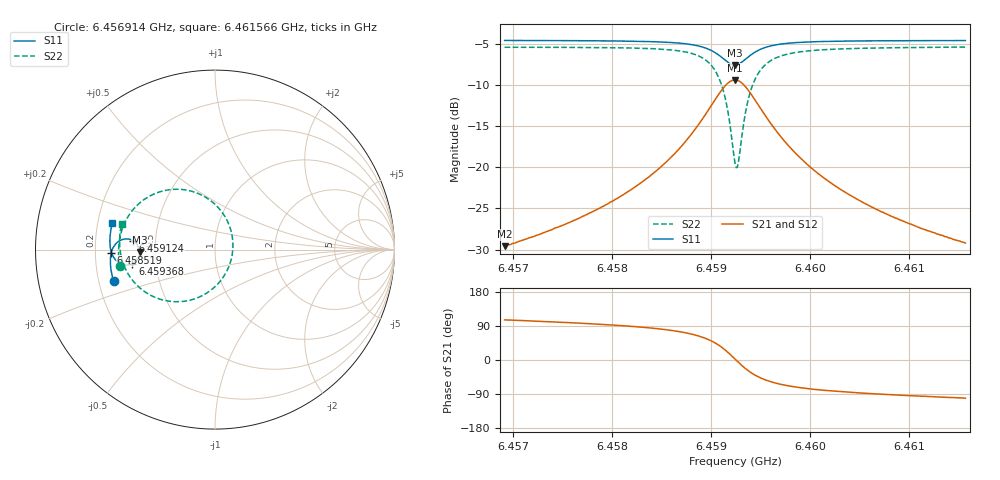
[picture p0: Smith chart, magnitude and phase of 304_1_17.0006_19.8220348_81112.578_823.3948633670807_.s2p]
#  HZ  S  RI  R  50.00
! Rohde & Schwarz Vector Network Analyzer
! Rohde-Schwarz,ZNB20-2Port,1311601062101988,3.16
! Created: UTC 3/20/2024, 11:05:43 PM
! freq[Hz]  re:S11  im:S11  re:S21  im:S21  re:S12  im:S12  re:S22  im:S22
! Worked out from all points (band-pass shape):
!   401 points, 6.456914 GHz to 6.461566 GHz, reference 50 ohm
!   highest |S21| = -9.36 dB at 6.45924 GHz (marker M1); lowest = -29.6 dB at 6.456914 GHz (marker M2)
!   |S21| within 3 dB of the highest: 6.459007 GHz to 6.459473 GHz (465.8 kHz wide, 0.00721 % of centre)
!   lowest |S11| = -7.5 dB at 6.45924 GHz (marker M3), VSWR 2.45, Z = 20.4 - j0.635 ohm
!   |S11| at or under -10 dB: nowhere
!   |S22| runs from -20.0 to -5.4 dB; largest |S21 - S12| = 0.013
!   S11 on the Smith chart (normalised r, x): 6.456914 GHz: 0.26, -0.14; 6.458519 GHz: 0.27, -0.02; 6.459124 GHz: 0.37, +0.05; 6.459368 GHz: 0.37, -0.07; 6.461566 GHz: 0.26, +0.12
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6.4569144e9  -0.565 -0.1773  -0.00906 0.0319  -0.00735 0.0319  -0.5309 -0.0891
6.4576936e9  -0.5798 -0.1094  -0.00606 0.0497  -0.00351 0.0492  -0.5372 0.000855
6.4581007e9  -0.5831 -0.069  -0.000634 0.0675  0.00248 0.0663  -0.5304 0.0637
6.4584728e9  -0.5796 -0.0252  0.0134 0.0974  0.0174 0.0948  -0.5051 0.1453
6.4585193e9  -0.5783 -0.0189  0.0168 0.103  0.0208 0.1  -0.4988 0.1583
6.4587287e9  -0.5662 0.0131  0.0425 0.1343  0.0467 0.1297  -0.4508 0.2292
6.4588799e9  -0.5453 0.0395  0.0845 0.1645  0.088 0.1579  -0.3736 0.2927
6.4590311e9  -0.4995 0.0594  0.1752 0.1834  0.1764 0.176  -0.2085 0.3362
6.4591241e9  -0.4552 0.0494  0.2641 0.1527  0.2645 0.1467  -0.0447 0.287
6.4591706e9  -0.4342 0.0307  0.3073 0.1106  0.3084 0.1052  0.0364 0.2122
6.4592404e9  -0.4195 -0.0128  0.3401 0.0151  0.3437 0.00813  0.1 0.0359
6.459252e9  -0.4199 -0.0208  0.34 -0.0023  0.3436 -0.01  0.0996 0.00313
6.4592753e9  -0.4233 -0.0361  0.3347 -0.0365  0.3382 -0.0456  0.0888 -0.0613
6.4593334e9  -0.4438 -0.0669  0.2971 -0.1076  0.2984 -0.1196  0.0133 -0.1939
6.4593683e9  -0.4605 -0.0781  0.2654 -0.1359  0.2644 -0.149  -0.0506 -0.2451
6.4594614e9  -0.5033 -0.0848  0.1821 -0.167  0.1761 -0.1782  -0.2156 -0.2904
6.4596126e9  -0.5468 -0.0645  0.0956 -0.1538  0.0871 -0.1598  -0.3795 -0.2425
6.4597754e9  -0.5682 -0.0369  0.0512 -0.1266  0.0438 -0.1293  -0.4587 -0.1719
6.4600196e9  -0.581 -0.00147  0.0224 -0.0957  0.0166 -0.0963  -0.506 -0.0909
6.4603918e9  -0.5858 0.0421  0.00575 -0.068  0.00192 -0.0676  -0.5279 -0.00831
6.4607988e9  -0.5839 0.0827  -0.00118 -0.0512  -0.00406 -0.0503  -0.5315 0.055
6.4615664e9  -0.5717 0.1506  -0.00644 -0.0341  -0.00811 -0.0332  -0.5201 0.1446
